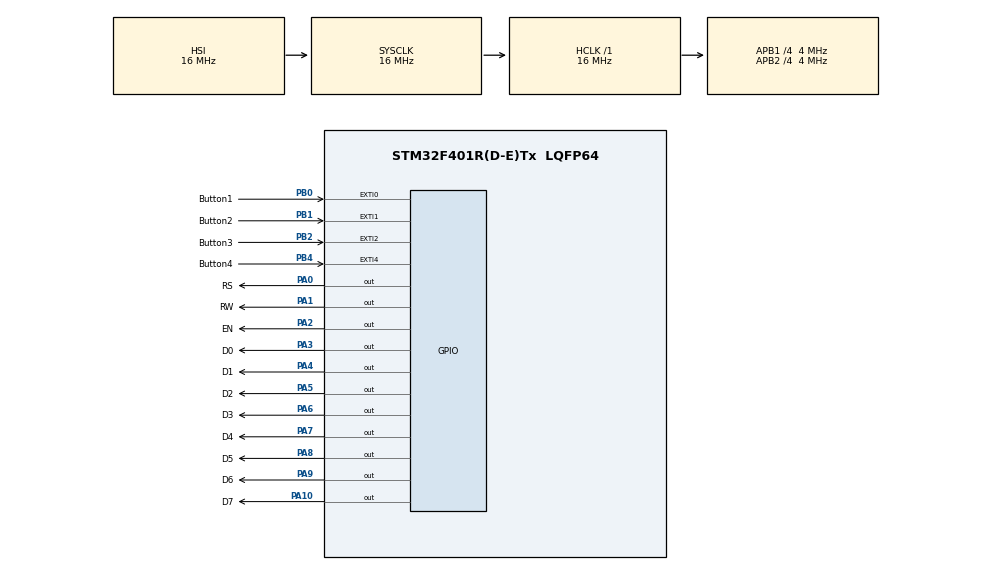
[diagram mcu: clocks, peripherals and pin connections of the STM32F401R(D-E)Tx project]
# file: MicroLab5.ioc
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Mcu.Family=STM32F4
Mcu.Name=STM32F401R(D-E)Tx
Mcu.Package=LQFP64
NVIC.EXTI0_IRQn=true\:0\:0\:false\:false\:true\:true\:true\:true
NVIC.EXTI1_IRQn=true\:0\:0\:false\:false\:true\:true\:true\:true
NVIC.EXTI2_IRQn=true\:0\:0\:false\:false\:true\:true\:true\:true
NVIC.PriorityGroup=NVIC_PRIORITYGROUP_4
NVIC.TIM3_IRQn=true\:0\:0\:false\:false\:true\:true\:true\:true
NVIC.TIM4_IRQn=true\:0\:0\:false\:false\:true\:true\:true\:true
PA0-WKUP.GPIO_Label=RS
PA0-WKUP.Signal=GPIO_Output
PA1.GPIO_Label=RW
PA1.Signal=GPIO_Output
PA10.GPIO_Label=D7
PA10.Signal=GPIO_Output
PA2.GPIO_Label=EN
PA2.Signal=GPIO_Output
PA3.GPIO_Label=D0
PA3.Signal=GPIO_Output
PA4.GPIO_Label=D1
PA4.Signal=GPIO_Output
PA5.GPIO_Label=D2
PA5.Signal=GPIO_Output
PA6.GPIO_Label=D3
PA6.Signal=GPIO_Output
PA7.GPIO_Label=D4
PA7.Signal=GPIO_Output
PA8.GPIO_Label=D5
PA8.Signal=GPIO_Output
PA9.GPIO_Label=D6
PA9.Signal=GPIO_Output
PB0.GPIO_Label=Button1
PB0.GPIO_ModeDefaultEXTI=GPIO_MODE_IT_FALLING
PB0.Signal=GPXTI0
PB1.GPIO_Label=Button2
PB1.GPIO_ModeDefaultEXTI=GPIO_MODE_IT_FALLING
PB1.Signal=GPXTI1
PB2.GPIO_Label=Button3
PB2.GPIO_ModeDefaultEXTI=GPIO_MODE_IT_RISING_FALLING
PB2.Signal=GPXTI2
PB4.GPIO_Label=Button4
PB4.GPIO_ModeDefaultEXTI=GPIO_MODE_IT_RISING_FALLING
PB4.Signal=GPXTI4
ProjectManager.HeapSize=0x200
ProjectManager.StackSize=0x400
ProjectManager.TargetToolchain=MDK-ARM V5.32
RCC.AHBFreq_Value=16000000
RCC.APB1CLKDivider=RCC_HCLK_DIV4
RCC.APB1Freq_Value=4000000
RCC.APB1TimFreq_Value=8000000
RCC.APB2CLKDivider=RCC_HCLK_DIV4
RCC.APB2Freq_Value=4000000
RCC.APB2TimFreq_Value=8000000
RCC.CortexFreq_Value=16000000
RCC.HCLKFreq_Value=16000000
RCC.HSE_VALUE=25000000
RCC.HSI_VALUE=16000000
RCC.LSE_VALUE=32768
RCC.SYSCLKFreq_VALUE=16000000
RCC.VCOOutputFreq_Value=192000000
TIM3.Period=249
TIM3.Prescaler=7999
TIM4.Period=499
TIM4.Prescaler=7999
VP_TIM3_VS_ClockSourceINT.Mode=Internal
VP_TIM4_VS_ClockSourceINT.Mode=Internal
board=custom

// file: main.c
/* USER CODE BEGIN Header */
/**
  ******************************************************************************
  * @file           : main.c
  * @brief          : Main program body
  ******************************************************************************
  * @attention
  *
  * Copyright (c) 2022 STMicroelectronics.
  * All rights reserved.
  *
  * This software is licensed under terms that can be found in the LICENSE file
  * in the root directory of this software component.
  * If no LICENSE file comes with this software, it is provided AS-IS.
  *
  ******************************************************************************
  */
/* USER CODE END Header */
#include "main.h"

/* USER CODE BEGIN PD */
#define RS (0)
#define RW (1)
#define E (2)
#define MASK(x) (1UL << (x))

/* USER CODE END PD */

TIM_HandleTypeDef htim3;
TIM_HandleTypeDef htim4;

/* USER CODE BEGIN PV */
 int minute = 0;
 int second = 0;
 int milisecond = 0;
 int isTurnOff = 0;
/* USER CODE END PV */

void SystemClock_Config(void);
static void MX_GPIO_Init(void);
static void MX_TIM3_Init(void);
static void MX_TIM4_Init(void);
/* USER CODE BEGIN PFP */
void 	InitLCD(void);
void Delay(long long );
void EnterLCDData(unsigned char);
void EnterLCDCommand(unsigned char);
void InitButtons(void);
void InitTimer(void);
void ClearLine(void);
void ShowTimer(void);
void ShowNumber(int);
void ResetCursor(void);
void IncrementTime(void);
void DelayMs(int);
void ResetTimer(void);
/* USER CODE END PFP */

int main(void)
{

  /* MCU Configuration--------------------------------------------------------*/

  /* Reset of all peripherals, Initializes the Flash interface and the Systick. */
  HAL_Init();

  /* Configure the system clock */
  SystemClock_Config();

  /* Initialize all configured peripherals */
  MX_GPIO_Init();
  MX_TIM3_Init();
  MX_TIM4_Init();
  /* USER CODE BEGIN 2 */
	InitLCD();

  /* USER CODE END 2 */

  /* Infinite loop */
  while (1)
  {

  }
}

void SystemClock_Config(void)
{
  RCC_OscInitTypeDef RCC_OscInitStruct = {0};
  RCC_ClkInitTypeDef RCC_ClkInitStruct = {0};

  /** Configure the main internal regulator output voltage
  */
  __HAL_RCC_PWR_CLK_ENABLE();
  __HAL_PWR_VOLTAGESCALING_CONFIG(PWR_REGULATOR_VOLTAGE_SCALE2);
  /** Initializes the RCC Oscillators according to the specified parameters
  * in the RCC_OscInitTypeDef structure.
  */
  RCC_OscInitStruct.OscillatorType = RCC_OSCILLATORTYPE_HSI;
  RCC_OscInitStruct.HSIState = RCC_HSI_ON;
  RCC_OscInitStruct.HSICalibrationValue = RCC_HSICALIBRATION_DEFAULT;
  RCC_OscInitStruct.PLL.PLLState = RCC_PLL_NONE;
  if (HAL_RCC_OscConfig(&RCC_OscInitStruct) != HAL_OK)
  {
    Error_Handler();
  }
  /** Initializes the CPU, AHB and APB buses clocks
  */
  RCC_ClkInitStruct.ClockType = RCC_CLOCKTYPE_HCLK|RCC_CLOCKTYPE_SYSCLK
                              |RCC_CLOCKTYPE_PCLK1|RCC_CLOCKTYPE_PCLK2;
  RCC_ClkInitStruct.SYSCLKSource = RCC_SYSCLKSOURCE_HSI;
  RCC_ClkInitStruct.AHBCLKDivider = RCC_SYSCLK_DIV1;
  RCC_ClkInitStruct.APB1CLKDivider = RCC_HCLK_DIV4;
  RCC_ClkInitStruct.APB2CLKDivider = RCC_HCLK_DIV4;

  if (HAL_RCC_ClockConfig(&RCC_ClkInitStruct, FLASH_LATENCY_0) != HAL_OK)
  {
    Error_Handler();
  }
}

static void MX_TIM3_Init(void)
{

  TIM_ClockConfigTypeDef sClockSourceConfig = {0};
  TIM_MasterConfigTypeDef sMasterConfig = {0};

  htim3.Instance = TIM3;
  htim3.Init.Prescaler = 7999;
  htim3.Init.CounterMode = TIM_COUNTERMODE_UP;
  htim3.Init.Period = 249;
  htim3.Init.ClockDivision = TIM_CLOCKDIVISION_DIV4;
  htim3.Init.AutoReloadPreload = TIM_AUTORELOAD_PRELOAD_DISABLE;
  if (HAL_TIM_Base_Init(&htim3) != HAL_OK)
  {
    Error_Handler();
  }
  sClockSourceConfig.ClockSource = TIM_CLOCKSOURCE_INTERNAL;
  if (HAL_TIM_ConfigClockSource(&htim3, &sClockSourceConfig) != HAL_OK)
  {
    Error_Handler();
  }
  sMasterConfig.MasterOutputTrigger = TIM_TRGO_RESET;
  sMasterConfig.MasterSlaveMode = TIM_MASTERSLAVEMODE_DISABLE;
  if (HAL_TIMEx_MasterConfigSynchronization(&htim3, &sMasterConfig) != HAL_OK)
  {
    Error_Handler();
  }

}

static void MX_TIM4_Init(void)
{

  TIM_ClockConfigTypeDef sClockSourceConfig = {0};
  TIM_MasterConfigTypeDef sMasterConfig = {0};

  htim4.Instance = TIM4;
  htim4.Init.Prescaler = 7999;
  htim4.Init.CounterMode = TIM_COUNTERMODE_UP;
  htim4.Init.Period = 499;
  htim4.Init.ClockDivision = TIM_CLOCKDIVISION_DIV4;
  htim4.Init.AutoReloadPreload = TIM_AUTORELOAD_PRELOAD_DISABLE;
  if (HAL_TIM_Base_Init(&htim4) != HAL_OK)
  {
    Error_Handler();
  }
  sClockSourceConfig.ClockSource = TIM_CLOCKSOURCE_INTERNAL;
  if (HAL_TIM_ConfigClockSource(&htim4, &sClockSourceConfig) != HAL_OK)
  {
    Error_Handler();
  }
  sMasterConfig.MasterOutputTrigger = TIM_TRGO_RESET;
  sMasterConfig.MasterSlaveMode = TIM_MASTERSLAVEMODE_DISABLE;
  if (HAL_TIMEx_MasterConfigSynchronization(&htim4, &sMasterConfig) != HAL_OK)
  {
    Error_Handler();
  }

}

static void MX_GPIO_Init(void)
{
  GPIO_InitTypeDef GPIO_InitStruct = {0};

  /* GPIO Ports Clock Enable */
  __HAL_RCC_GPIOA_CLK_ENABLE();
  __HAL_RCC_GPIOB_CLK_ENABLE();

  /*Configure GPIO pin Output Level */
  HAL_GPIO_WritePin(GPIOA, GPIO_PIN_0|GPIO_PIN_1|GPIO_PIN_2|GPIO_PIN_3
                          |GPIO_PIN_4|GPIO_PIN_5|GPIO_PIN_6|GPIO_PIN_7
                          |GPIO_PIN_8|GPIO_PIN_9|GPIO_PIN_10, GPIO_PIN_RESET);

  /*Configure GPIO pins : PA0 PA1 PA2 PA3
                           PA4 PA5 PA6 PA7
                           PA8 PA9 PA10 */
  GPIO_InitStruct.Pin = GPIO_PIN_0|GPIO_PIN_1|GPIO_PIN_2|GPIO_PIN_3
                          |GPIO_PIN_4|GPIO_PIN_5|GPIO_PIN_6|GPIO_PIN_7
                          |GPIO_PIN_8|GPIO_PIN_9|GPIO_PIN_10;
  GPIO_InitStruct.Mode = GPIO_MODE_OUTPUT_PP;
  GPIO_InitStruct.Pull = GPIO_NOPULL;
  GPIO_InitStruct.Speed = GPIO_SPEED_FREQ_LOW;
  HAL_GPIO_Init(GPIOA, &GPIO_InitStruct);

  /*Configure GPIO pins : Button1_Pin Button2_Pin */
  GPIO_InitStruct.Pin = Button1_Pin|Button2_Pin;
  GPIO_InitStruct.Mode = GPIO_MODE_IT_FALLING;
  GPIO_InitStruct.Pull = GPIO_NOPULL;
  HAL_GPIO_Init(GPIOB, &GPIO_InitStruct);

  /*Configure GPIO pin : Button3_Pin */
  GPIO_InitStruct.Pin = Button3_Pin;
  GPIO_InitStruct.Mode = GPIO_MODE_IT_RISING_FALLING;
  GPIO_InitStruct.Pull = GPIO_NOPULL;
  HAL_GPIO_Init(Button3_GPIO_Port, &GPIO_InitStruct);

  /* EXTI interrupt init*/
  HAL_NVIC_SetPriority(EXTI0_IRQn, 10, 1);
  HAL_NVIC_EnableIRQ(EXTI0_IRQn);

  HAL_NVIC_SetPriority(EXTI1_IRQn, 10, 1);
  HAL_NVIC_EnableIRQ(EXTI1_IRQn);

  HAL_NVIC_SetPriority(EXTI2_IRQn, 10, 1);
  HAL_NVIC_EnableIRQ(EXTI2_IRQn);

	HAL_NVIC_SetPriority(SysTick_IRQn, 0 ,0);

}

/* USER CODE BEGIN 4 */

// To Be Called When TIM3 Overflows (250 ms)
void TIM3_IRQHandler(void){
			// Reset Cursor To The Beginning Of The Line
			ResetCursor();
			// Increment Timer  +250 ms
			IncrementTime();
			// Print Time
			ShowTimer();

}
// To Be Called When TIM4 Overflows (500 ms)
void TIM4_IRQHandler(void){
	// Clear Line
	ClearLine();
	// Reset Cursor To The Beginning Of The Line
	ResetCursor();
	// Delay For Blinking
	Delay(10);
	// Print Turn Off
	EnterLCDData('T');
	EnterLCDData('U');
	EnterLCDData('R');
	EnterLCDData('N');
	EnterLCDData(' ');
	EnterLCDData('O');
	EnterLCDData('F');
	EnterLCDData('F');
}

// To Be Called When One Of The Buttons Pushed
void HAL_GPIO_EXTI_Callback(uint16_t GPIO_Pin){

	// When First Button Clicked
	if(GPIO_Pin == Button1_Pin){
		// When The State Is not in Turn Off Mode
		if(isTurnOff == 0){
		// When First Button Pushed
		if(GPIOB->IDR){
		// Start TIM3 To Counting
		HAL_TIM_Base_Start_IT(&htim3);
		}	}}
		// When Second Button Clicked
	else if(GPIO_Pin == Button2_Pin){
				// When The State Is not in Turn Off Mode
			if(isTurnOff == 0){
						// When Second Button Pushed
		if(GPIOB->IDR){
					// Stop TIM3
		HAL_TIM_Base_Stop_IT(&htim3);
		}	}}
			// When Third Button Clicked
	else if (GPIO_Pin == Button3_Pin){
		HAL_NVIC_SetPendingIRQ(EXTI2_IRQn);
		// Stop TIM3
		HAL_TIM_Base_Stop_IT(&htim3);
		// Reset Timer To 00:00:000
		ResetTimer();
		int pushedFor3000ms = 1;
		// Get Current HAL_Tick In ms
		uint32_t start = HAL_GetTick();
		// Wait For 3 seconds
		while((HAL_GetTick()- start)<500){
				// No Need For Switching To Turn Off Mode If Release The Third Button
				if(HAL_GPIO_ReadPin(GPIOB, MASK(2) ) != GPIO_PIN_SET){
					pushedFor3000ms = 0;
					break;
				}}
		// Switching To Turn Off Mode If Third Button Remains Clicked For 3 seconds
		if(pushedFor3000ms == 1){
					HAL_TIM_Base_Start_IT(&htim4);
					isTurnOff = 1;
			//Wait Until Third Button Get Released
				while(HAL_GPIO_ReadPin(GPIOB, MASK(2) ) == GPIO_PIN_SET){		}
	}else{
			// Stop Turn Off Mode
			HAL_TIM_Base_Stop_IT(&htim4);
			isTurnOff = 0;	}
		HAL_NVIC_ClearPendingIRQ(EXTI2_IRQn);
	}
}

// Reset Timer To 00:00:000
void ResetTimer(){
	milisecond = 0;
	second = 0;
	minute = 0;
	ResetCursor();
	ShowTimer();
}

// Init LCD
void InitLCD(void) {

	// Init LCD
	Delay(15000);
	EnterLCDCommand(0x30);
	Delay(5000);
	EnterLCDCommand(0x30);
	Delay(500);
	EnterLCDCommand(0x30);
	Delay(500);
	EnterLCDCommand(0x30);
	EnterLCDCommand(0x30);
	EnterLCDCommand(0x30);
	Delay(500);
	// Init LCD 2 Lines  8 Bits Mode
	EnterLCDCommand(0x38);
	// Entry Mode
		Delay(500);
	EnterLCDCommand(0x06);
	// Clear The Ram And Screen
	EnterLCDCommand(0x01);
		Delay(500);
	// Move Cursor To Start Of First Line
	EnterLCDCommand(0x80);
	Delay(500);
	// Start The LCD With Blinking Cursor
	EnterLCDCommand(0x0F);
	Delay(500);

	// Set Welcome In First Line
	EnterLCDData('W');
	EnterLCDData('E');
	EnterLCDData('L');
	EnterLCDData('C');
	EnterLCDData('O');
	EnterLCDData('M');
	EnterLCDData('E');
	Delay(500);

}

void EnterLCDCommand(unsigned char command) {
	//Set  RW, RS and Command Bits
	GPIOA->ODR &= ~(MASK(RS)); //RS = 0
	GPIOA->ODR &= ~(MASK(RW));//RW = 0
	GPIOA->ODR &= ~(0xFF<<3);
	//Set Command On PA3 To PA10
	GPIOA->ODR |= (command<<3);
	//Enable E
	GPIOA->ODR |= MASK(E);
	Delay(25);
	//Disable E
	GPIOA->ODR &=  ~(MASK(E));
}

//Execute DATA On LCD
void EnterLCDData(unsigned char data) {
	//Set  RW, RS and DATA Bits
	GPIOA->ODR |= MASK(RS);   // RS = 1
	GPIOA->ODR &= ~(MASK(RW));  // RW = 0
	GPIOA->ODR &= ~(0xFF<<3);
	//Set Data On PA3 To PA10
	GPIOA->ODR |= (data <<3);
	//Enable E
	GPIOA->ODR |= MASK(E);
	Delay(50);
	//Disable E
	GPIOA->ODR &= ~(MASK(E));
}

// Show Timer In 00:00:000 Format
void ShowTimer(void){
	ShowNumber(minute/10);
	ShowNumber(minute%10);
	EnterLCDData(':');
	ShowNumber(second/10);
	ShowNumber(second%10);
	EnterLCDData(':');
	ShowNumber(milisecond/100);
	ShowNumber(milisecond%100 / 10);
	ShowNumber(milisecond%10);
}

void ShowNumber(int input){
	// Enter 0 To LCD
	if(input == 0){
		EnterLCDData('0');
		return;
	}

	// Make Input Negative If Input < 0 && Enter - To LCD
	if(input < 0){
		EnterLCDData('-');
		input *= (-1);
	}
	// Reverse Input To Show Properly In LCD
	int reversed = 1;
	while(input > 0){
		reversed *= 10;
		reversed += input%10;
		input /= 10;
	}
	// Enter Input Digit By Digit
	while(reversed > 1){
		EnterLCDData('0' + (reversed%10));
		reversed /= 10;
	}

}

void ClearLine(void){

		EnterLCDCommand(0x80);
	  EnterLCDData(' ');
		EnterLCDData(' ');
		EnterLCDData(' ');
		EnterLCDData(' ');
		EnterLCDData(' ');
		EnterLCDData(' ');
		EnterLCDData(' ');
		EnterLCDData(' ');
		EnterLCDData(' ');
		EnterLCDData(' ');
		EnterLCDData(' ');
		EnterLCDData(' ');
		EnterLCDData(' ');
		EnterLCDData(' ');
		EnterLCDCommand(0x80);
}

void ResetCursor(){
			EnterLCDCommand(0x80);
}

// Increment Time By 250 ms
void IncrementTime(){
	milisecond+=250;
	if(milisecond > 999){
		milisecond=0;
		second++;
	}
	if(second>59){
		second = 0;
		minute++;
	}

}

// Delay
void Delay(long long t){
	for(volatile long long i=0;i<t;i++);
}

// Delay ms With SysTick
void DelayMs(int n){
	int i;
	SysTick->LOAD = 8000;
	SysTick->VAL = 0;
	SysTick->CTRL = 0x5;

	for(i = 0; i<n; i++){
		while((SysTick->CTRL & 0x10000)==0){}
		}
		SysTick->CTRL = 0;
	}
/* USER CODE END 4 */

void Error_Handler(void)
{
  __disable_irq();
  while (1)
  {
  }
}
